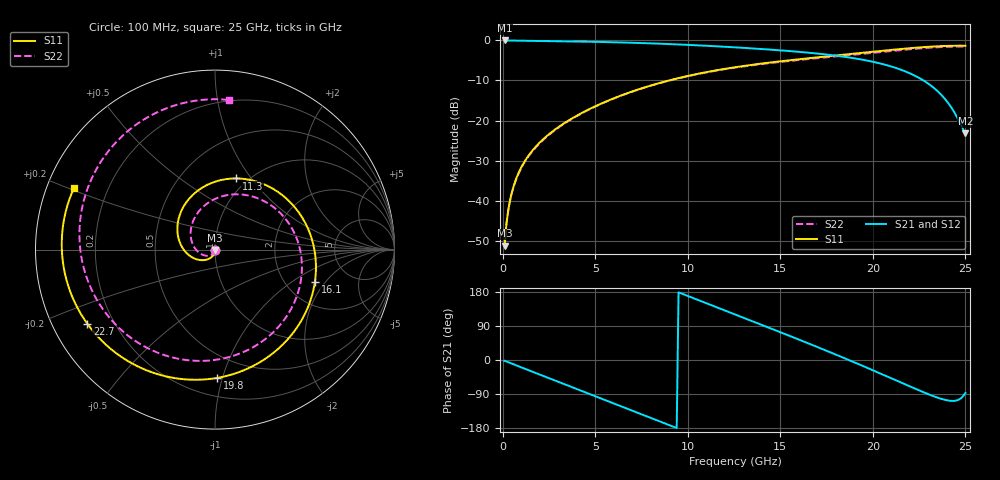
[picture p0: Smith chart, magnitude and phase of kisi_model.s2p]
! kisi B_ts6_L1L3_stub: fast channel model (formula impedances, via model), up to 25 GHz
# Hz S RI R 50
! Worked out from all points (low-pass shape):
!   250 points, 100 MHz to 25 GHz, reference 50 ohm
!   highest |S21| = -0.02 dB at 100 MHz (marker M1); lowest = -23.2 dB at 25 GHz (marker M2)
!   |S21| within 3 dB of the highest: start of sweep to 16.39 GHz
!   lowest |S11| = -51.2 dB at 100 MHz (marker M3), VSWR 1.01, Z = 50.1 - j0.249 ohm
!   |S11| at or under -10 dB: start of sweep to 8.986 GHz
!   |S22| runs from -51.3 to -1.5 dB; largest |S21 - S12| = 0
!   S11 on the Smith chart (normalised r, x): 100 MHz: 1.00, -0.00; 11.3 GHz: 0.89, +0.85; 16.1 GHz: 2.88, -1.56; 19.8 GHz: 0.33, -0.96; 22.7 GHz: 0.10, -0.27; 25 GHz: 0.08, +0.21
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1e8  0.00116 -0.00248  0.9975 -0.0349  0.9975 -0.0349  0.00111 -0.00247
2e8  0.00105 -0.00506  0.995 -0.069  0.995 -0.069  0.000852 -0.00502
4e8  0.000352 -0.0103  0.9866 -0.1361  0.9866 -0.1361  -0.000417 -0.0101
7e8  -0.00184 -0.018  0.9658 -0.2344  0.9658 -0.2344  -0.00407 -0.0173
1.1e9  -0.00675 -0.0279  0.9234 -0.3603  0.9234 -0.3603  -0.0119 -0.0254
2.8e9  -0.051 -0.057  0.5794 -0.7895  0.5794 -0.7895  -0.0695 -0.0286
4.3e9  -0.1152 -0.0493  0.1301 -0.9578  0.1301 -0.9578  -0.1216 0.0244
6.2e9  -0.1942 0.0353  -0.4506 -0.8311  -0.4506 -0.8311  -0.1246 0.1519
8.4e9  -0.1823 0.2266  -0.8587 -0.3047  -0.8587 -0.3047  0.0162 0.2892
9.8e9  -0.074 0.3434  -0.8768 0.1105  -0.8768 0.1105  0.172 0.3041
1.13e10  0.118 0.3964  -0.6896 0.497  -0.6896 0.497  0.3459 0.2205
1.26e10  0.3072 0.3478  -0.4018 0.7123  -0.4018 0.7123  0.4543 0.0646
1.43e10  0.5038 0.1467  0.0418 0.7706  0.0418 0.7706  0.4695 -0.2149
1.61e10  0.5567 -0.1787  0.4411 0.5647  0.4411 0.5647  0.2793 -0.4994
1.67e10  0.5281 -0.2943  0.5315 0.4493  0.5315 0.4493  0.1693 -0.5657
1.83e10  0.3334 -0.5689  0.6254 0.0895  0.6254 0.0895  -0.2007 -0.6089
1.98e10  0.013 -0.7148  0.5098 -0.2152  0.5098 -0.2152  -0.5535 -0.4176
2.09e10  -0.2749 -0.706  0.3317 -0.3463  0.3317 -0.3463  -0.7227 -0.1322
2.18e10  -0.5114 -0.6046  0.1685 -0.3695  0.1685 -0.3695  -0.7514 0.1613
2.27e10  -0.7117 -0.4127  0.0315 -0.3181  0.0315 -0.3181  -0.654 0.4599
2.4e10  -0.8531 -0.00506  -0.0489 -0.1668  -0.0489 -0.1668  -0.2978 0.7761
2.5e10  -0.7857 0.3433  0.00367 -0.0693  0.00367 -0.0693  0.0789 0.8335
